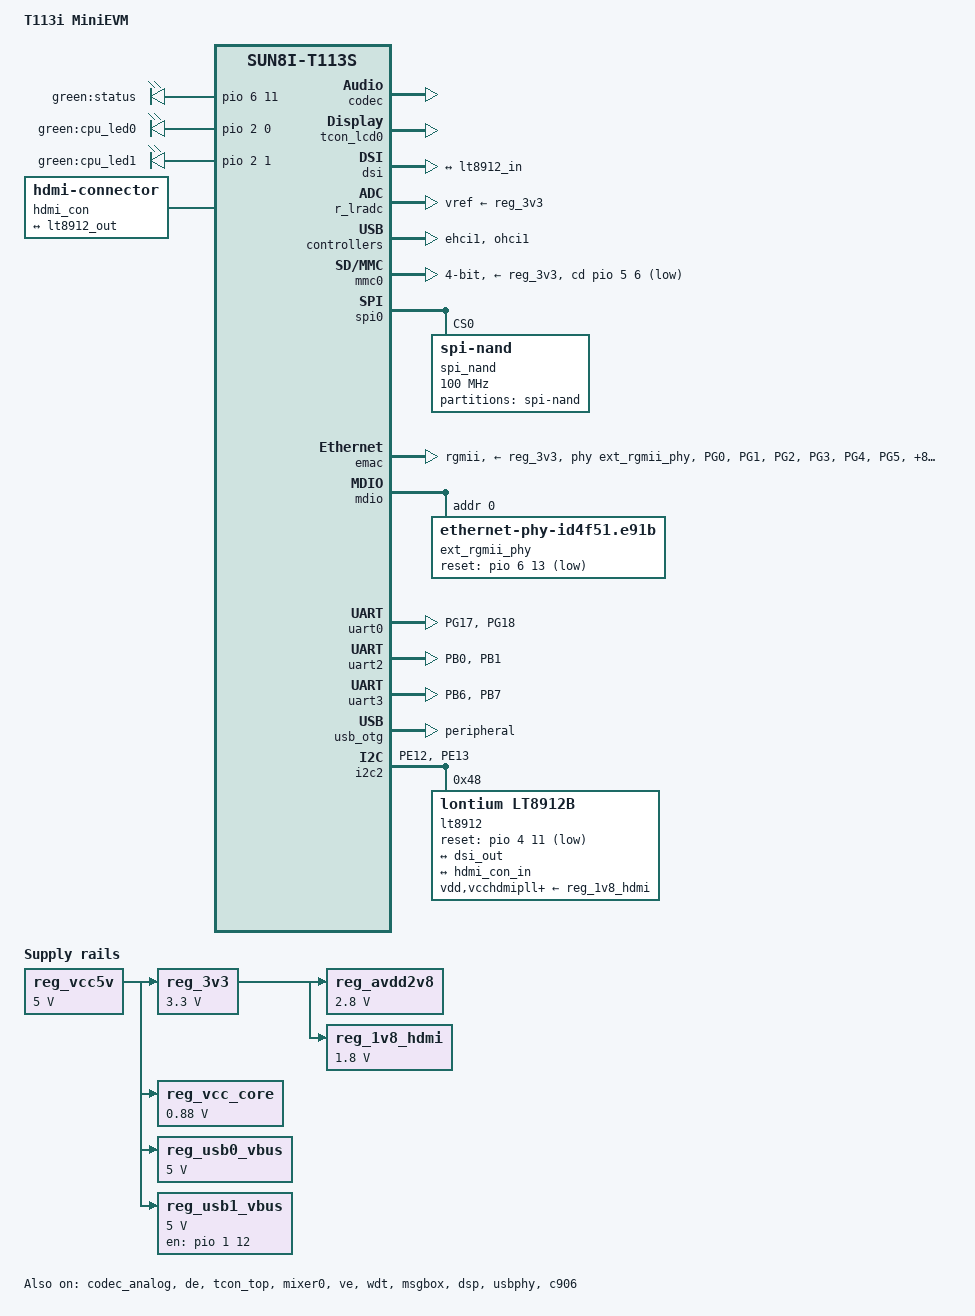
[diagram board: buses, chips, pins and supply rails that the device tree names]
// SPDX-License-Identifier: (GPL-2.0+ OR MIT)
// Copyright (C) 2022 Arm Ltd.

#include <dt-bindings/interrupt-controller/irq.h>

/dts-v1/;

#include "sun8i-t113s.dtsi"

#include <dt-bindings/clock/sun20i-d1-ccu.h>
#include <dt-bindings/gpio/gpio.h>
#include <dt-bindings/leds/common.h>
#include <dt-bindings/reset/sun20i-d1-ccu.h>

/ {
	model = "T113i MiniEVM";
	compatible = "allwinner,sun8i-t113s";

	aliases {
		serial0 = &uart0;
		ethernet0 = &emac;
	};

	chosen {
		stdout-path = "serial0:115200n8";
	};

    leds {
        compatible = "gpio-leds";

        sys_led {
            label = "green:status";
            gpios = <&pio 6 11 GPIO_ACTIVE_HIGH>; /* PG11 */
            linux,default-trigger = "none";
        };

        cpu_led0 {
            label = "green:cpu_led0";
            gpios = <&pio 2 0 GPIO_ACTIVE_HIGH>; /* PC0 */
            linux,default-trigger = "heartbeat";
        };

        cpu_led1 {
            label = "green:cpu_led1";
            gpios = <&pio 2 1 GPIO_ACTIVE_HIGH>; /* PC1 */
            linux,default-trigger = "heartbeat";
        };
    };

	reg_vcc5v: regulator-5v {
		compatible = "regulator-fixed";
		regulator-name = "vcc-5v";
		regulator-min-microvolt = <5000000>;
		regulator-max-microvolt = <5000000>;
		regulator-always-on;
	};

	reg_3v3: regulator-3v3 {
		compatible = "regulator-fixed";
		regulator-name = "vcc-3v3";
		regulator-min-microvolt = <3300000>;
		regulator-max-microvolt = <3300000>;
		vin-supply = <&reg_vcc5v>;
	};

	reg_vcc_core: regulator-core {
		compatible = "regulator-fixed";
		regulator-name = "vcc-core";
		regulator-min-microvolt = <880000>;
		regulator-max-microvolt = <880000>;
		vin-supply = <&reg_vcc5v>;
	};

	reg_avdd2v8: regulator-avdd {
		compatible = "regulator-fixed";
		regulator-name = "avdd2v8";
		regulator-min-microvolt = <2800000>;
		regulator-max-microvolt = <2800000>;
		vin-supply = <&reg_3v3>;
	};

    reg_usb0_vbus: regulator-usb0-vbus {
        compatible = "regulator-fixed";
        regulator-name = "usb0-vbus";
        regulator-min-microvolt = <5000000>;
        regulator-max-microvolt = <5000000>;
        vin-supply = <&reg_vcc5v>;
        regulator-always-on;
    };

    reg_usb1_vbus: regulator-usb1-vbus {
        compatible = "regulator-fixed";
        regulator-name = "usb1-vbus";
        regulator-min-microvolt = <5000000>;
        regulator-max-microvolt = <5000000>;
        vin-supply = <&reg_vcc5v>;
        gpio = <&pio 1 12 GPIO_ACTIVE_HIGH>;  /* PB12 / USB_DRVVBUS */
        enable-active-high;
    };

    reg_1v8_hdmi: regulator-1v8-hdmi {
        compatible = "regulator-fixed";
        regulator-name = "vdd-1v8-hdmi";
        regulator-min-microvolt = <1800000>;
        regulator-max-microvolt = <1800000>;
        vin-supply = <&reg_3v3>;
        regulator-always-on;
    };

    hdmi_con: hdmi-connector {
        compatible = "hdmi-connector";
        type = "a";

		// ddc-i2c-bus = <&i2c0>; // 这个引脚也没定义在公共区域!

        port {
            hdmi_con_in: endpoint {
                remote-endpoint = <&lt8912_out>;
            };
        };
    };
};

&reserved_mem {
    c906_fw: c906_fw@41200000 {
        reg = <0x41200000 0x002AC000>;
        no-map;
    };

    vdev0vring0: vdev0vring0@414ac000 {
        reg = <0x414ac000 0x00002000>;
        no-map;
    };

    vdev0vring1: vdev0vring1@414ae000 {
        reg = <0x414ae000 0x00002000>;
        no-map;
    };

    vdev0buffer: vdev0buffer@414b0000 {
        reg = <0x414b0000 0x00040000>;
        no-map;
    };

    c906_guard: c906_guard@414f0000 {
        reg = <0x414f0000 0x00010000>;
        no-map;
    };
};

&codec {
    allwinner,audio-routing =
        "Headphone", "HP",
        "MIC3", "Headset Mic",
        "Headset Mic", "MBIAS",
        "MIC3", "Mic",
        "Mic", "MBIAS",
        "Line In", "LINEIN";
    status = "okay";
};

&codec_analog {
    status = "okay";
};

&pio {
	vcc-pb-supply = <&reg_3v3>;
	vcc-pc-supply = <&reg_3v3>;
	vcc-pd-supply = <&reg_3v3>;
	vcc-pe-supply = <&reg_avdd2v8>;
	vcc-pf-supply = <&reg_3v3>;
	vcc-pg-supply = <&reg_3v3>;

    pinctrl-names = "default";
    pinctrl-0 = <&riscv_jtag_pins &dsp_jtag_pins>;

	uart0_pg_pins: uart0-pg-pins {
		pins = "PG17", "PG18";
		function = "uart0";
	};

	uart2_pb_pins: uart2-pb-pins {
		pins = "PB0", "PB1";
		function = "uart2";
	};

	uart3_pb_pins: uart3-pb-pins {
		pins = "PB6", "PB7";
		function = "uart3";
	};

    rgmii_pg_pins: rgmii-pg-pins {
        pins = "PG0",  "PG1",  "PG2",   /* RXCTL, RXD0, RXD1 */
               "PG3",  "PG4",  "PG5",   /* TXCK, TXD0, TXD1 */
               "PG6",  "PG7",           /* TXD2, TXD3 */
               "PG8",  "PG9",  "PG10",  /* RXD2, RXD3, RXCK */
               "PG12",                  /* TXEN / TXCTRL */
               "PG14", "PG15";          /* MDC, MDIO */
        function = "emac";
	};

    i2c2_pe_pins: i2c2-pe-pins {
        pins = "PE12", "PE13";
        function = "i2c2";
        bias-pull-up;
    };

    riscv_jtag_pins: riscv-jtag-pe-pins {
        pins = "PE4", "PE5", "PE6", "PE7";
        function = "r_jtag";
        bias-pull-up;
    };

    dsp_jtag_pins: dsp-jtag-pe-pins {
        pins = "PE14", "PE15", "PE16", "PE17";
        function = "d_jtag";
        bias-pull-up;
    };
};

&de {
    status = "okay";
    iommus = <&iommu 2 1>;
};

&tcon_top {
    status = "okay";
};

&mixer0 {
    status = "okay";
};

&tcon_lcd0 {
    status = "okay";
};

/* We only use LCD0+DSI; disable TV TCON1 to avoid unused component errors */
&tcon_tv0 {
    status = "disabled";
};

&dsi {
    #address-cells = <1>;
    #size-cells = <0>;
    pinctrl-names = "default";
    pinctrl-0 = <&dsi_4lane_pins>;
    status = "okay";

    vcc-dsi-supply = <&reg_avdd2v8>; 

    port {
        #address-cells = <1>;
        #size-cells = <0>;

        /* keep existing endpoint to tcon_lcd0 (from base dtsi) and add DSI -> LT8912 */
        dsi_out: endpoint@1 {
            reg = <1>;
            remote-endpoint = <&lt8912_in>;
        };
    };
};

&ve {
	status = "okay";
	iommus = <&iommu 0 1>;
};

&cpu0 {
	cpu-supply = <&reg_vcc_core>;
};

&cpu1 {
	cpu-supply = <&reg_vcc_core>;
};

&wdt {
    status = "okay";
};

&dcxo {
	clock-frequency = <24000000>;
};

&{/soc} {
    r_lradc: lradc@2009800 {
        compatible = "allwinner,sun50i-r329-lradc";
        reg = <0x02009800 0x400>;
        interrupts = <GIC_SPI 61 IRQ_TYPE_LEVEL_HIGH>;
        clocks = <&ccu CLK_BUS_LRADC>;
        clock-names = "mclk";
        resets = <&ccu RST_BUS_LRADC>;
        #io-channel-cells = <1>;
        vref-supply = <&reg_3v3>;
        status = "okay";
        wakeup-source;

        button {
            label = "LRADC Key";
            channel = <0>;
            /* voltage is in microvolts per binding */
            voltage = <210000>;
            linux,code = <148>; /* KEY_PROG1 */
        };
    };

    c906: rproc@6010000 {
        compatible = "allwinner,c906-rproc";
        reg = <0x06010000 0x1000>;
        reg-names = "c906-cfg";

        clocks = <&ccu CLK_RISCV>,
                 <&ccu CLK_MBUS_RISCV>,
                 <&ccu CLK_BUS_RISCV_CFG>,
                 <&ccu CLK_RISCV_AXI>,
                 <&ccu CLK_PLL_PERIPH0_800M>;
        clock-names = "core", "bus", "cfg", "axi", "pll";

        assigned-clocks = <&ccu CLK_RISCV>;
        assigned-clock-parents = <&ccu CLK_PLL_PERIPH0_800M>;
        assigned-clock-rates = <800000000>;

		resets = <&ccu RST_BUS_RISCV_CFG>;
		reset-names = "cfg";

		memory-region = <&c906_fw &vdev0vring0 &vdev0vring1 &vdev0buffer>;
		firmware-name = "c906-fw.elf";
		mboxes = <&msgbox 4>;
		mbox-names = "arm-kick";
		status = "okay";
	};
};

&msgbox {
    status = "okay";
};

&dsp {
    status = "okay";
};

&ehci1 {
	status = "okay";
};

&mmc0 {
	pinctrl-0 = <&mmc0_pins>;
	pinctrl-names = "default";
	vmmc-supply = <&reg_3v3>;
	cd-gpios = <&pio 5 6 GPIO_ACTIVE_LOW>;
	disable-wp;
	bus-width = <4>;
	status = "okay";
};

&spi0 {
	pinctrl-names = "default";
	pinctrl-0 = <&spi0_pins>;
	status = "okay";

	spi_nand: flash@0 {
		compatible = "spi-nand";
		reg = <0>;
		spi-max-frequency = <100000000>;
		#address-cells = <1>;
		#size-cells = <1>;

		partitions {
			compatible = "fixed-partitions";
			#address-cells = <1>;
			#size-cells = <1>;

			partition@0 {
				label = "spi-nand";
				reg = <0x0 0x08000000>;
			};
		};
	};
};

&ohci1 {
	status = "okay";
};

&emac {
    pinctrl-names = "default";
    pinctrl-0 = <&rgmii_pg_pins>;

    phy-mode = "rgmii";
    phy-handle = <&ext_rgmii_phy>;
    phy-supply = <&reg_3v3>;

    allwinner,tx-delay-ps = <400>;
    allwinner,rx-delay-ps = <1500>;

    status = "okay";
};

&mdio {
    ext_rgmii_phy: ethernet-phy@0 {
        compatible = "ethernet-phy-id4f51.e91b",
                     "ethernet-phy-ieee802.3-c22";
        reg = <0>;

        reset-gpios = <&pio 6 13 GPIO_ACTIVE_LOW>; /* PG13 / ETH_RSTn */
        reset-assert-us = <15000>;
        reset-deassert-us = <80000>;

	    // rx-internal-delay-ps = <0>;
        // tx-internal-delay-ps = <0>;
    };
};


&uart0 {
	pinctrl-names = "default";
	pinctrl-0 = <&uart0_pg_pins>;
	status = "okay";
};

&uart2 {
	pinctrl-names = "default";
	pinctrl-0 = <&uart2_pb_pins>;
	status = "okay";
};

&uart3 {
	pinctrl-names = "default";
	pinctrl-0 = <&uart3_pb_pins>;
	status = "okay";
};

/* The USB-C socket has its CC pins pulled to GND, so is hardwired as a UFP. */
&usb_otg {
	dr_mode = "peripheral";
	status = "okay";
};

&usbphy {
    usb0_vbus-supply = <&reg_usb0_vbus>;
    usb1_vbus-supply = <&reg_usb1_vbus>;
    status = "okay";
};

&i2c2 {
    pinctrl-names = "default";
    pinctrl-0 = <&i2c2_pe_pins>;
    status = "okay";

    lt8912: hdmi-bridge@48 {
        compatible = "lontium,lt8912b";
        reg = <0x48>;
        reset-gpios = <&pio 4 11 GPIO_ACTIVE_LOW>;
        allwinner,dsi = <&dsi>;

        vdd-supply          = <&reg_1v8_hdmi>;
        vcchdmipll-supply   = <&reg_1v8_hdmi>;
        vcchdmitx-supply    = <&reg_1v8_hdmi>;
        vcclvdspll-supply   = <&reg_1v8_hdmi>;
        vcclvdstx-supply    = <&reg_1v8_hdmi>;
        vccmipirx-supply    = <&reg_1v8_hdmi>;
        vccsysclk-supply    = <&reg_1v8_hdmi>;
        lontium,force-mode  = "720p30";

        ports {
            #address-cells = <1>;
            #size-cells = <0>;

            port@0 {
                reg = <0>;
                lt8912_in: endpoint {
                    data-lanes = <0 1 2 3>;
                    remote-endpoint = <&dsi_out>;
                };
            };

            port@1 {
                reg = <1>;
                lt8912_out: endpoint {
                    remote-endpoint = <&hdmi_con_in>;
                };
            };
        };
    };
};
